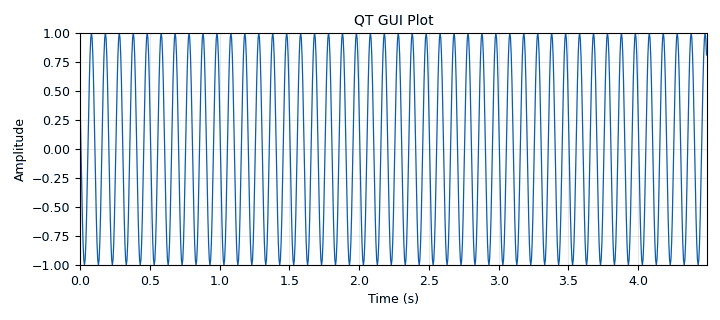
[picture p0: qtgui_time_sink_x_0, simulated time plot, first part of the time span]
<?xml version='1.0' encoding='utf-8'?>
<flow_graph>
<block>
<key>options</key>
<param><key>id</key><value>Test_channel_Number2</value></param>
<param><key>generate_options</key><value>qt_gui</value></param>
<param><key>category</key><value>Custom</value></param>
</block>
<block>
<key>variable</key>
<param><key>id</key><value>cucala</value></param>
<param><key>value</key><value>2.5e6</value></param>
</block>
<block>
<key>variable</key>
<param><key>id</key><value>RF_freq</value></param>
<param><key>value</key><value>943e6</value></param>
</block>
<block>
<key>variable</key>
<param><key>id</key><value>packet_size</value></param>
<param><key>value</key><value>packet_size_gige</value></param>
</block>
<block>
<key>variable</key>
<param><key>id</key><value>packet_size_gige</value></param>
<param><key>value</key><value>1024</value></param>
</block>
<block>
<key>variable</key>
<param><key>id</key><value>samp_rate</value></param>
<param><key>value</key><value>20e6</value></param>
</block>
<block>
<key>nutaq_custom_register</key>
<param><key>id</key><value>nutaq_custom_register_0_1_1</value></param>
<param><key>target_id</key><value>nutaq_carrier_perseus_TX</value></param>
<param><key>block_priority</key><value>9</value></param>
<param><key>index</key><value>6</value></param>
<param><key>value</key><value>820</value></param>
<param><key>update_rate</key><value>1</value></param>
</block>
<block>
<key>nutaq_radio420_rx</key>
<param><key>id</key><value>nutaq_radio420_rx_0</value></param>
<param><key>target_id</key><value>nutaq_carrier_perseus_TX</value></param>
<param><key>block_priority</key><value>2</value></param>
<param><key>selected_card</key><value>1</value></param>
<param><key>enable</key><value>1</value></param>
<param><key>reference</key><value>0</value></param>
<param><key>rx_freq</key><value>RF_freq</value></param>
<param><key>datarate</key><value>samp_rate*2</value></param>
<param><key>calibrate</key><value>0</value></param>
<param><key>band</key><value>1</value></param>
<param><key>update_rate</key><value>1</value></param>
<param><key>rx_lna_gain</key><value>2</value></param>
<param><key>rx_vga1_gain</key><value>2</value></param>
<param><key>rx_gain2</key><value>0</value></param>
<param><key>rx_gain3</key><value>-8</value></param>
<param><key>rx_lpf_bandwidth</key><value>1</value></param>
<param><key>rx_rf_filter</key><value>2</value></param>
<param><key>ref_clk_ctrl</key><value>0</value></param>
<param><key>rf_ctrl</key><value>0</value></param>
<param><key>rx_gain_ctrl</key><value>0</value></param>
<param><key>pll_cpld_ctrl</key><value>0</value></param>
</block>
<block>
<key>nutaq_custom_register</key>
<param><key>id</key><value>nutaq_custom_register_0_0_0</value></param>
<param><key>target_id</key><value>nutaq_carrier_perseus_TX</value></param>
<param><key>block_priority</key><value>8</value></param>
<param><key>index</key><value>3</value></param>
<param><key>value</key><value>7</value></param>
<param><key>update_rate</key><value>1</value></param>
</block>
<block>
<key>nutaq_custom_register</key>
<param><key>id</key><value>nutaq_custom_register_0_1_0</value></param>
<param><key>target_id</key><value>nutaq_carrier_perseus_TX</value></param>
<param><key>block_priority</key><value>7</value></param>
<param><key>index</key><value>2</value></param>
<param><key>value</key><value>00000</value></param>
<param><key>update_rate</key><value>1</value></param>
</block>
<block>
<key>nutaq_radio420_tx</key>
<param><key>id</key><value>nutaq_radio420_tx_0</value></param>
<param><key>target_id</key><value>nutaq_carrier_perseus_TX</value></param>
<param><key>block_priority</key><value>0</value></param>
<param><key>selected_card</key><value>1</value></param>
<param><key>enable</key><value>1</value></param>
<param><key>reference</key><value>0</value></param>
<param><key>tx_freq</key><value>RF_freq</value></param>
<param><key>datarate</key><value>samp_rate*2</value></param>
<param><key>calibrate</key><value>0</value></param>
<param><key>band</key><value>1</value></param>
<param><key>update_rate</key><value>1</value></param>
<param><key>tx_vga1_gain</key><value>-10</value></param>
<param><key>tx_vga2_gain</key><value>15</value></param>
<param><key>tx_gain3</key><value>3</value></param>
<param><key>tx_lpf_bandwidth</key><value>1</value></param>
<param><key>ref_clk_ctrl</key><value>0</value></param>
<param><key>rf_ctrl</key><value>0</value></param>
<param><key>tx_gain_ctrl</key><value>1</value></param>
<param><key>pll_cpld_ctrl</key><value>0</value></param>
</block>
<block>
<key>nutaq_radio420_tx</key>
<param><key>id</key><value>nutaq_radio420_tx_0_0</value></param>
<param><key>target_id</key><value>nutaq_carrier_perseus_TX</value></param>
<param><key>block_priority</key><value>1</value></param>
<param><key>selected_card</key><value>2</value></param>
<param><key>enable</key><value>1</value></param>
<param><key>reference</key><value>0</value></param>
<param><key>tx_freq</key><value>RF_freq</value></param>
<param><key>datarate</key><value>samp_rate*2</value></param>
<param><key>calibrate</key><value>0</value></param>
<param><key>band</key><value>1</value></param>
<param><key>update_rate</key><value>1</value></param>
<param><key>tx_vga1_gain</key><value>-10</value></param>
<param><key>tx_vga2_gain</key><value>15</value></param>
<param><key>tx_gain3</key><value>3</value></param>
<param><key>tx_lpf_bandwidth</key><value>1</value></param>
<param><key>ref_clk_ctrl</key><value>0</value></param>
<param><key>rf_ctrl</key><value>0</value></param>
<param><key>tx_gain_ctrl</key><value>0</value></param>
<param><key>pll_cpld_ctrl</key><value>0</value></param>
</block>
<block>
<key>nutaq_radio420_rx</key>
<param><key>id</key><value>nutaq_radio420_rx_0_0</value></param>
<param><key>target_id</key><value>nutaq_carrier_perseus_TX</value></param>
<param><key>block_priority</key><value>3</value></param>
<param><key>selected_card</key><value>2</value></param>
<param><key>enable</key><value>1</value></param>
<param><key>reference</key><value>0</value></param>
<param><key>rx_freq</key><value>RF_freq</value></param>
<param><key>datarate</key><value>samp_rate*2</value></param>
<param><key>calibrate</key><value>0</value></param>
<param><key>band</key><value>1</value></param>
<param><key>update_rate</key><value>1</value></param>
<param><key>rx_lna_gain</key><value>2</value></param>
<param><key>rx_vga1_gain</key><value>2</value></param>
<param><key>rx_gain2</key><value>0</value></param>
<param><key>rx_gain3</key><value>-8</value></param>
<param><key>rx_lpf_bandwidth</key><value>1</value></param>
<param><key>rx_rf_filter</key><value>2</value></param>
<param><key>ref_clk_ctrl</key><value>0</value></param>
<param><key>rf_ctrl</key><value>0</value></param>
<param><key>rx_gain_ctrl</key><value>0</value></param>
<param><key>pll_cpld_ctrl</key><value>0</value></param>
</block>
<block>
<key>nutaq_custom_register</key>
<param><key>id</key><value>nutaq_custom_register_0_0</value></param>
<param><key>target_id</key><value>nutaq_carrier_perseus_TX</value></param>
<param><key>block_priority</key><value>5</value></param>
<param><key>index</key><value>4</value></param>
<param><key>value</key><value>1</value></param>
<param><key>update_rate</key><value>1</value></param>
</block>
<block>
<key>nutaq_custom_register</key>
<param><key>id</key><value>nutaq_custom_register_0</value></param>
<param><key>target_id</key><value>nutaq_carrier_perseus_TX</value></param>
<param><key>block_priority</key><value>4</value></param>
<param><key>index</key><value>1</value></param>
<param><key>value</key><value>0</value></param>
<param><key>update_rate</key><value>1</value></param>
</block>
<block>
<key>nutaq_custom_register</key>
<param><key>id</key><value>nutaq_custom_register_0_1</value></param>
<param><key>target_id</key><value>nutaq_carrier_perseus_TX</value></param>
<param><key>block_priority</key><value>6</value></param>
<param><key>index</key><value>0</value></param>
<param><key>value</key><value>000000</value></param>
<param><key>update_rate</key><value>1</value></param>
</block>
<block>
<key>blocks_float_to_int</key>
<param><key>id</key><value>blocks_float_to_int_0_0_0</value></param>
<param><key>scale</key><value>1</value></param>
</block>
<block>
<key>nutaq_carrier_perseus</key>
<param><key>id</key><value>nutaq_carrier_perseus_TX</value></param>
<param><key>ip_addr</key><value>192.168.0.101</value></param>
</block>
<block>
<key>blocks_float_to_int</key>
<param><key>id</key><value>blocks_float_to_int_0_0</value></param>
<param><key>scale</key><value>1</value></param>
</block>
<block>
<key>analog_const_source_x</key>
<param><key>id</key><value>analog_const_source_x_0_0</value></param>
<param><key>type</key><value>float</value></param>
<param><key>const</key><value>1e5*(2**32)/samp_rate</value></param>
</block>
<block>
<key>analog_const_source_x</key>
<param><key>id</key><value>analog_const_source_x_0</value></param>
<param><key>type</key><value>float</value></param>
<param><key>const</key><value>( cucala)/samp_rate*(2**32)</value></param>
</block>
<block>
<key>spectsensing_subband_selector</key>
<param><key>id</key><value>spectsensing_subband_selector_0</value></param>
<param><key>num_items</key><value>40</value></param>
<param><key>cucala</key><value>40</value></param>
</block>
<block>
<key>blocks_tags_strobe</key>
<param><key>id</key><value>blocks_tags_strobe_0</value></param>
<param><key>type</key><value>float</value></param>
<param><key>value</key><value>pmt.intern("TEST")</value></param>
<param><key>key</key><value>pmt.intern("strobe")</value></param>
<param><key>nsamps</key><value>1000</value></param>
</block>
<block>
<key>analog_sig_source_x</key>
<param><key>id</key><value>analog_sig_source_x_0</value></param>
<param><key>type</key><value>float</value></param>
<param><key>samp_rate</key><value>samp_rate/1e5</value></param>
<param><key>waveform</key><value>analog.GR_COS_WAVE</value></param>
<param><key>freq</key><value>10</value></param>
<param><key>amp</key><value>1</value></param>
<param><key>offset</key><value>0</value></param>
</block>
<block>
<key>blocks_add_xx</key>
<param><key>id</key><value>blocks_add_xx_0</value></param>
<param><key>type</key><value>float</value></param>
</block>
<block>
<key>blocks_message_debug</key>
<param><key>id</key><value>blocks_message_debug_0</value></param>
</block>
<block>
<key>blocks_throttle</key>
<param><key>id</key><value>blocks_throttle_0</value></param>
<param><key>type</key><value>float</value></param>
<param><key>samples_per_second</key><value>samp_rate/1e4</value></param>
</block>
<block>
<key>blocks_tagged_stream_to_pdu</key>
<param><key>id</key><value>blocks_tagged_stream_to_pdu_0</value></param>
<param><key>type</key><value>float</value></param>
<param><key>tag</key><value>packet_len</value></param>
</block>
<block>
<key>qtgui_time_sink_x</key>
<param><key>id</key><value>qtgui_time_sink_x_0_0</value></param>
<param><key>type</key><value>float</value></param>
<param><key>name</key><value>QT GUI Plot</value></param>
<param><key>size</key><value>1024</value></param>
<param><key>srate</key><value>samp_rate/1e5/40</value></param>
</block>
<block>
<key>qtgui_time_sink_x</key>
<param><key>id</key><value>qtgui_time_sink_x_0</value></param>
<param><key>type</key><value>float</value></param>
<param><key>name</key><value>QT GUI Plot</value></param>
<param><key>size</key><value>2048</value></param>
<param><key>srate</key><value>samp_rate/1e5</value></param>
</block>
<block>
<key>blocks_stream_to_vector</key>
<param><key>id</key><value>blocks_stream_to_vector_0</value></param>
<param><key>type</key><value>float</value></param>
<param><key>num_items</key><value>40</value></param>
</block>
<connection><source_block_id>blocks_float_to_int_0_0</source_block_id><sink_block_id>nutaq_custom_register_0_1_0</sink_block_id><source_key>0</source_key><sink_key>0</sink_key></connection>
<connection><source_block_id>blocks_float_to_int_0_0_0</source_block_id><sink_block_id>nutaq_custom_register_0_1</sink_block_id><source_key>0</source_key><sink_key>0</sink_key></connection>
<connection><source_block_id>analog_const_source_x_0</source_block_id><sink_block_id>blocks_float_to_int_0_0_0</sink_block_id><source_key>0</source_key><sink_key>0</sink_key></connection>
<connection><source_block_id>analog_const_source_x_0_0</source_block_id><sink_block_id>blocks_float_to_int_0_0</sink_block_id><source_key>0</source_key><sink_key>0</sink_key></connection>
<connection><source_block_id>blocks_stream_to_vector_0</source_block_id><sink_block_id>spectsensing_subband_selector_0</sink_block_id><source_key>0</source_key><sink_key>1</sink_key></connection>
<connection><source_block_id>blocks_stream_to_vector_0</source_block_id><sink_block_id>spectsensing_subband_selector_0</sink_block_id><source_key>0</source_key><sink_key>0</sink_key></connection>
<connection><source_block_id>blocks_throttle_0</source_block_id><sink_block_id>blocks_stream_to_vector_0</sink_block_id><source_key>0</source_key><sink_key>0</sink_key></connection>
<connection><source_block_id>blocks_throttle_0</source_block_id><sink_block_id>qtgui_time_sink_x_0</sink_block_id><source_key>0</source_key><sink_key>0</sink_key></connection>
<connection><source_block_id>spectsensing_subband_selector_0</source_block_id><sink_block_id>qtgui_time_sink_x_0_0</sink_block_id><source_key>0</source_key><sink_key>0</sink_key></connection>
<connection><source_block_id>blocks_tags_strobe_0</source_block_id><sink_block_id>blocks_add_xx_0</sink_block_id><source_key>0</source_key><sink_key>1</sink_key></connection>
<connection><source_block_id>analog_sig_source_x_0</source_block_id><sink_block_id>blocks_add_xx_0</sink_block_id><source_key>0</source_key><sink_key>0</sink_key></connection>
<connection><source_block_id>blocks_add_xx_0</source_block_id><sink_block_id>blocks_throttle_0</sink_block_id><source_key>0</source_key><sink_key>0</sink_key></connection>
<connection><source_block_id>blocks_tagged_stream_to_pdu_0</source_block_id><sink_block_id>blocks_message_debug_0</sink_block_id><source_key>pdus</source_key><sink_key>print</sink_key></connection>
<connection><source_block_id>blocks_tagged_stream_to_pdu_0</source_block_id><sink_block_id>blocks_message_debug_0</sink_block_id><source_key>pdus</source_key><sink_key>print_pdu</sink_key></connection>
<connection><source_block_id>blocks_throttle_0</source_block_id><sink_block_id>blocks_tagged_stream_to_pdu_0</sink_block_id><source_key>0</source_key><sink_key>0</sink_key></connection>
</flow_graph>
